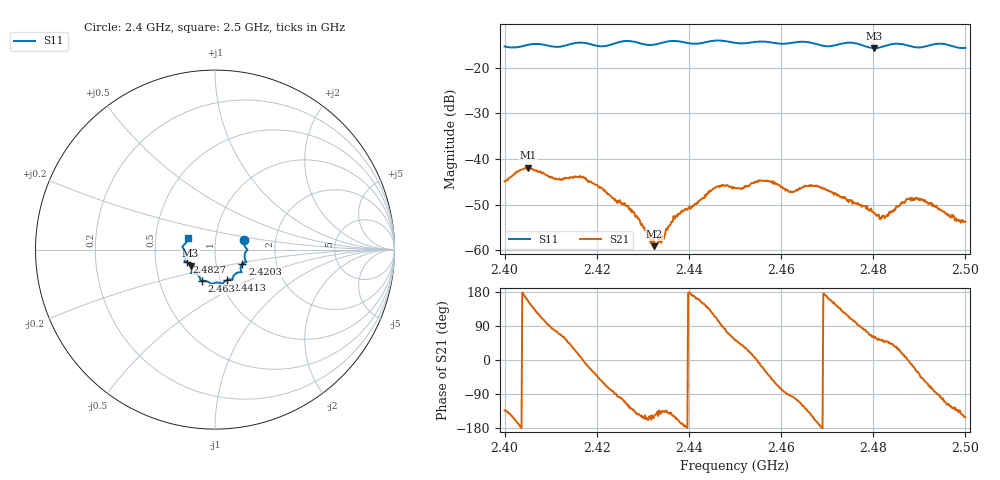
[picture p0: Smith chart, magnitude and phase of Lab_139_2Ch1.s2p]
# Hz S RI R 50
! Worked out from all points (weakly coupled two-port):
!   601 points, 2.4 GHz to 2.5 GHz, reference 50 ohm
!   highest |S21| = -41.93 dB at 2.4052 GHz (marker M1); lowest = -59.1 dB at 2.4325 GHz (marker M2)
!   lowest |S11| = -15.8 dB at 2.4802 GHz (marker M3), VSWR 1.39, Z = 37.5 - j6.92 ohm
!   |S11| at or under -10 dB: start of sweep to end of sweep
!   S12 and S22 are empty: the file has one direction only
!   S11 on the Smith chart (normalised r, x): 2.4 GHz: 1.38, +0.15; 2.4203 GHz: 1.34, -0.22; 2.4413 GHz: 1.07, -0.38; 2.463 GHz: 0.82, -0.29; 2.4827 GHz: 0.72, -0.10; 2.5 GHz: 0.73, +0.10
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2.4e9  0.1616 0.0526  -0.00391 -0.00416  0 0  0 0
2.405167e9  0.1775 0.00341  -0.00723 0.00345  0 0  0 0
2.411167e9  0.1661 -0.0271  0.00153 0.00586  0 0  0 0
2.416667e9  0.1741 -0.069  0.00635 0.000527  0 0  0 0
2.420333e9  0.1525 -0.0793  0.00344 -0.00365  0 0  0 0
2.427667e9  0.1465 -0.126  -0.00175 -0.00212  0 0  0 0
2.4325e9  0.1042 -0.1446  -0.000934 -0.000605  0 0  0 0
2.433333e9  0.1001 -0.1519  -0.00102 -0.000642  0 0  0 0
2.437167e9  0.0976 -0.1688  -0.00217 -0.00101  0 0  0 0
2.441333e9  0.0668 -0.1692  -0.00315 0.000759  0 0  0 0
2.446e9  0.0425 -0.1927  -0.00171 0.00469  0 0  0 0
2.45e9  0.0245 -0.1847  0.00295 0.00382  0 0  0 0
2.455667e9  -0.0188 -0.1915  0.00559 -0.00155  0 0  0 0
2.463e9  -0.0728 -0.1738  -0.000872 -0.00436  0 0  0 0
2.466667e9  -0.0808 -0.1676  -0.00429 -0.00274  0 0  0 0
2.480167e9  -0.136 -0.0898  0.00136 0.0022  0 0  0 0
2.482667e9  -0.1579 -0.0705  0.00151 0.00179  0 0  0 0
2.483333e9  -0.1632 -0.0683  0.00172 0.00173  0 0  0 0
2.4875e9  -0.166 -0.0524  0.00362 1.85e-05  0 0  0 0
2.489667e9  -0.1636 -0.0261  0.00313 -0.00185  0 0  0 0
2.4945e9  -0.1816 0.0163  -0.000369 -0.00277  0 0  0 0
2.5e9  -0.1512 0.0645  -0.00182 -0.000997  0 0  0 0
